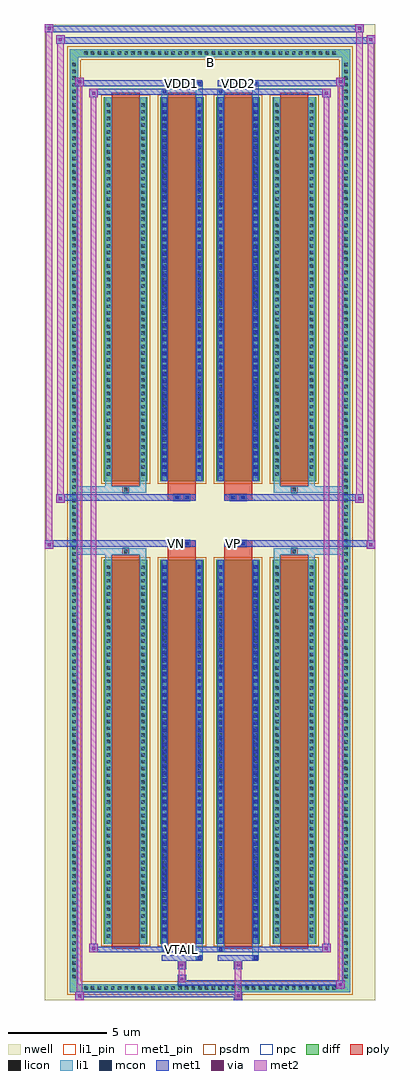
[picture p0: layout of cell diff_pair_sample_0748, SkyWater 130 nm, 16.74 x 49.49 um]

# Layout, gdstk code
import gdstk
lib = gdstk.Library(unit=1e-6, precision=5e-09)
def R(c, l, rs):  # rectangles x0, y0, x1, y1
    for r in rs: c.add(gdstk.rectangle(r[:2], r[2:], *l))
def A(c, l, x, y, w, h, nx, ny, dx, dy):  # array of equal rectangles
    R(c, l, [(x+i*dx, y+j*dy, x+i*dx+w, y+j*dy+h) for i in range(nx) for j in range(ny)])
def P(c, l, *ps):  # polygons
    for p in ps: c.add(gdstk.Polygon(p, *l))
nwell = (64, 20)
diff = (65, 20)
poly = (66, 20)
licon = (66, 44)
li1_pin = (67, 16)
li1 = (67, 20)
mcon = (67, 44)
met1_pin = (68, 16)
met1 = (68, 20)
via = (68, 44)
met2 = (69, 20)
psdm = (94, 20)
npc = (95, 20)

diff_pair_sample_0748 = lib.new_cell('diff_pair_sample_0748')
R(diff_pair_sample_0748, nwell, [(-8.37,-24.31,8.37,25.18), (-5.69,-22.5,-0.01,-0.8), (0.01,-22.5,5.69,-0.8), (-5.69,0.8,-0.01,22.5), (0.01,0.8,5.69,22.5)])
A(diff_pair_sample_0748, diff, -6.495, -23.91, 0.41, 0.41, 38, 2, 0.34, 47.41)
A(diff_pair_sample_0748, diff, -7.1, -23.325, 0.41, 0.41, 1, 137, 0, 0.34)
A(diff_pair_sample_0748, diff, 6.69, -23.325, 0.41, 0.41, 1, 137, 0, 0.34)
A(diff_pair_sample_0748, diff, -5.38, -21.455, 2.21, 19.47, 4, 2, 2.85, 23.44)
R(diff_pair_sample_0748, diff, [(-6.495,-23.91,6.495,-23.5), (-7.1,-23.325,-6.69,23.325), (6.69,-23.325,7.1,23.325), (-6.495,23.5,6.495,23.91)])
P(diff_pair_sample_0748, diff, [(7.1,23.91),(-7.1,23.91),(-7.1,-23.5),(-6.69,-23.5),(-6.69,23.5),(6.69,23.5),(6.69,-23.5),(-6.69,-23.5),(-7.1,-23.5),(-7.1,-23.91),(7.1,-23.91)])
A(diff_pair_sample_0748, poly, -4.99, -21.705, 1.43, 19.97, 4, 2, 2.85, 23.44)
R(diff_pair_sample_0748, poly, [(-4.44,-1.735,-4.11,-1.405), (-4.44,-1.735,-4.11,-1.405), (-2.14,-1.735,-0.71,-1.33), (0.71,-1.735,2.14,-1.33), (4.11,-1.735,4.44,-1.405), (4.11,-1.735,4.44,-1.405), (-2.14,-1.33,-0.71,-1), (-1.84,-1.33,-1.51,-1), (-1.34,-1.33,-1.01,-1), (0.71,-1.33,2.14,-1), (1.01,-1.33,1.34,-1), (1.51,-1.33,1.84,-1), (-2.14,1,-0.71,1.33), (-1.84,1,-1.51,1.33), (-1.34,1,-1.01,1.33), (0.71,1,2.14,1.33), (1.01,1,1.34,1.33), (1.51,1,1.84,1.33), (-2.14,1.33,-0.71,1.735), (0.71,1.33,2.14,1.735), (-4.44,1.405,-4.11,1.735), (-4.44,1.405,-4.11,1.735), (4.11,1.405,4.44,1.735), (4.11,1.405,4.44,1.735)])
A(diff_pair_sample_0748, licon, -6.375, -23.79, 0.17, 0.17, 38, 2, 0.34, 47.41)
A(diff_pair_sample_0748, licon, -6.98, -23.205, 0.17, 0.17, 1, 137, 0, 0.34)
A(diff_pair_sample_0748, licon, 6.81, -23.205, 0.17, 0.17, 1, 137, 0, 0.34)
A(diff_pair_sample_0748, licon, -5.24, -21.155, 0.17, 0.17, 1, 56, 0, 0.34)
A(diff_pair_sample_0748, licon, -3.48, -21.155, 0.17, 0.17, 1, 56, 0, 0.34)
A(diff_pair_sample_0748, licon, -2.39, -21.155, 0.17, 0.17, 1, 56, 0, 0.34)
A(diff_pair_sample_0748, licon, -0.63, -21.155, 0.17, 0.17, 1, 56, 0, 0.34)
A(diff_pair_sample_0748, licon, 0.46, -21.155, 0.17, 0.17, 1, 56, 0, 0.34)
A(diff_pair_sample_0748, licon, 2.22, -21.155, 0.17, 0.17, 1, 56, 0, 0.34)
A(diff_pair_sample_0748, licon, 3.31, -21.155, 0.17, 0.17, 1, 56, 0, 0.34)
A(diff_pair_sample_0748, licon, 5.07, -21.155, 0.17, 0.17, 1, 56, 0, 0.34)
A(diff_pair_sample_0748, licon, -5.24, 2.285, 0.17, 0.17, 1, 56, 0, 0.34)
A(diff_pair_sample_0748, licon, -3.48, 2.285, 0.17, 0.17, 1, 56, 0, 0.34)
A(diff_pair_sample_0748, licon, -2.39, 2.285, 0.17, 0.17, 1, 56, 0, 0.34)
A(diff_pair_sample_0748, licon, -0.63, 2.285, 0.17, 0.17, 1, 56, 0, 0.34)
A(diff_pair_sample_0748, licon, 0.46, 2.285, 0.17, 0.17, 1, 56, 0, 0.34)
A(diff_pair_sample_0748, licon, 2.22, 2.285, 0.17, 0.17, 1, 56, 0, 0.34)
A(diff_pair_sample_0748, licon, 3.31, 2.285, 0.17, 0.17, 1, 56, 0, 0.34)
A(diff_pair_sample_0748, licon, 5.07, 2.285, 0.17, 0.17, 1, 56, 0, 0.34)
R(diff_pair_sample_0748, licon, [(-4.36,-1.655,-4.19,-1.485), (4.19,-1.655,4.36,-1.485), (-1.76,-1.25,-1.59,-1.08), (-1.26,-1.25,-1.09,-1.08), (1.09,-1.25,1.26,-1.08), (1.59,-1.25,1.76,-1.08), (-1.76,1.08,-1.59,1.25), (-1.26,1.08,-1.09,1.25), (1.09,1.08,1.26,1.25), (1.59,1.08,1.76,1.25), (-4.36,1.485,-4.19,1.655), (4.19,1.485,4.36,1.655)])
R(diff_pair_sample_0748, li1_pin, [(-0.25,23,0.25,23.5)])
A(diff_pair_sample_0748, li1, -6.455, -23.87, 0.33, 0.33, 38, 2, 0.34, 47.41)
A(diff_pair_sample_0748, li1, -7.06, -23.285, 0.33, 0.33, 1, 137, 0, 0.34)
A(diff_pair_sample_0748, li1, 6.73, -23.285, 0.33, 0.33, 1, 137, 0, 0.34)
A(diff_pair_sample_0748, li1, -5.32, -21.235, 0.33, 0.33, 1, 56, 0, 0.34)
A(diff_pair_sample_0748, li1, -3.56, -21.235, 0.33, 0.33, 1, 56, 0, 0.34)
A(diff_pair_sample_0748, li1, -2.47, -21.235, 0.33, 0.33, 1, 56, 0, 0.34)
A(diff_pair_sample_0748, li1, -0.71, -21.235, 0.33, 0.33, 1, 56, 0, 0.34)
A(diff_pair_sample_0748, li1, 0.38, -21.235, 0.33, 0.33, 1, 56, 0, 0.34)
A(diff_pair_sample_0748, li1, 2.14, -21.235, 0.33, 0.33, 1, 56, 0, 0.34)
A(diff_pair_sample_0748, li1, 3.23, -21.235, 0.33, 0.33, 1, 56, 0, 0.34)
A(diff_pair_sample_0748, li1, 4.99, -21.235, 0.33, 0.33, 1, 56, 0, 0.34)
A(diff_pair_sample_0748, li1, -2.39, -21.165, 0.17, 0.17, 1, 53, 0, 0.36)
A(diff_pair_sample_0748, li1, -0.63, -21.165, 0.17, 0.17, 1, 53, 0, 0.36)
A(diff_pair_sample_0748, li1, 0.46, -21.165, 0.17, 0.17, 1, 53, 0, 0.36)
A(diff_pair_sample_0748, li1, 2.22, -21.165, 0.17, 0.17, 1, 53, 0, 0.36)
A(diff_pair_sample_0748, li1, -5.32, 2.205, 0.33, 0.33, 1, 56, 0, 0.34)
A(diff_pair_sample_0748, li1, -3.56, 2.205, 0.33, 0.33, 1, 56, 0, 0.34)
A(diff_pair_sample_0748, li1, -2.47, 2.205, 0.33, 0.33, 1, 56, 0, 0.34)
A(diff_pair_sample_0748, li1, -0.71, 2.205, 0.33, 0.33, 1, 56, 0, 0.34)
A(diff_pair_sample_0748, li1, 0.38, 2.205, 0.33, 0.33, 1, 56, 0, 0.34)
A(diff_pair_sample_0748, li1, 2.14, 2.205, 0.33, 0.33, 1, 56, 0, 0.34)
A(diff_pair_sample_0748, li1, 3.23, 2.205, 0.33, 0.33, 1, 56, 0, 0.34)
A(diff_pair_sample_0748, li1, 4.99, 2.205, 0.33, 0.33, 1, 56, 0, 0.34)
A(diff_pair_sample_0748, li1, -2.39, 2.275, 0.17, 0.17, 1, 53, 0, 0.36)
A(diff_pair_sample_0748, li1, -0.63, 2.275, 0.17, 0.17, 1, 53, 0, 0.36)
A(diff_pair_sample_0748, li1, 0.46, 2.275, 0.17, 0.17, 1, 53, 0, 0.36)
A(diff_pair_sample_0748, li1, 2.22, 2.275, 0.17, 0.17, 1, 53, 0, 0.36)
R(diff_pair_sample_0748, li1, [(-7.1,-23.91,-6.69,-23.5), (-7.1,-23.91,-6.69,-23.5), (-6.69,-23.91,6.69,-23.5), (6.69,-23.91,7.1,-23.5), (6.69,-23.91,7.1,-23.5), (-7.1,-23.5,-6.69,23.5), (6.69,-23.5,7.1,23.5), (-0.71,-22.26,-0.38,-21.455), (-0.63,-22.26,-0.46,-22.09), (2.14,-22.26,2.47,-21.455), (2.22,-22.26,2.39,-22.09), (-2.47,-21.83,-2.14,-21.455), (-2.39,-21.83,-2.22,-21.66), (0.38,-21.83,0.71,-21.455), (0.46,-21.83,0.63,-21.66), (-5.32,-21.455,-4.99,-1.985), (-3.56,-21.455,-3.23,-1.985), (-2.47,-21.455,-2.14,-1.985), (-0.71,-21.455,-0.38,-1.985), (0.38,-21.455,0.71,-1.985), (2.14,-21.455,2.47,-1.985), (3.23,-21.455,3.56,-1.985), (4.99,-21.455,5.32,-1.985), (-2.39,-21.165,-2.22,-2.275), (-0.63,-21.165,-0.46,-2.275), (0.46,-21.165,0.63,-2.275), (2.22,-21.165,2.39,-2.275), (-5.32,-1.985,-4.99,-1.405), (-3.56,-1.985,-3.23,-1.405), (3.23,-1.985,3.56,-1.405), (4.99,-1.985,5.32,-1.405), (-7.1,-1.735,-4.44,-1.405), (-5.32,-1.735,-4.44,-1.405), (-4.44,-1.735,-4.11,-1.405), (-4.11,-1.735,-3.23,-1.405), (3.23,-1.735,4.11,-1.405), (4.11,-1.735,4.44,-1.405), (4.11,-1.735,7.1,-1.405), (4.44,-1.735,5.32,-1.405), (-1.84,-1.33,-1.51,-1), (-1.34,-1.33,-1.01,-1), (1.01,-1.33,1.34,-1), (1.51,-1.33,1.84,-1), (-1.84,1,-1.51,1.33), (-1.34,1,-1.01,1.33), (1.01,1,1.34,1.33), (1.51,1,1.84,1.33), (-7.1,1.405,-4.44,1.735), (-5.32,1.405,-4.44,1.735), (-5.32,1.405,-4.99,1.985), (-4.44,1.405,-4.11,1.735), (-4.11,1.405,-3.23,1.735), (-3.56,1.405,-3.23,1.985), (3.23,1.405,4.11,1.735), (3.23,1.405,3.56,1.985), (4.11,1.405,4.44,1.735), (4.11,1.405,7.1,1.735), (4.44,1.405,5.32,1.735), (4.99,1.405,5.32,1.985), (-5.32,1.985,-4.99,21.455), (-3.56,1.985,-3.23,21.455), (-2.47,1.985,-2.14,21.455), (-0.71,1.985,-0.38,21.455), (0.38,1.985,0.71,21.455), (2.14,1.985,2.47,21.455), (3.23,1.985,3.56,21.455), (4.99,1.985,5.32,21.455), (-2.39,2.275,-2.22,21.165), (-0.63,2.275,-0.46,21.165), (0.46,2.275,0.63,21.165), (2.22,2.275,2.39,21.165), (-2.47,21.455,-2.14,21.83), (-0.71,21.455,-0.38,22.26), (0.38,21.455,0.71,21.83), (2.14,21.455,2.47,22.26), (-2.39,21.66,-2.22,21.83), (0.46,21.66,0.63,21.83), (-0.63,22.09,-0.46,22.26), (2.22,22.09,2.39,22.26), (-7.1,23.5,-6.69,23.91), (-7.1,23.5,-6.69,23.91), (-6.69,23.5,6.69,23.91), (6.69,23.5,7.1,23.91), (6.69,23.5,7.1,23.91)])
A(diff_pair_sample_0748, mcon, -2.39, -21.165, 0.17, 0.17, 1, 53, 0, 0.36)
A(diff_pair_sample_0748, mcon, -0.63, -21.165, 0.17, 0.17, 1, 53, 0, 0.36)
A(diff_pair_sample_0748, mcon, 0.46, -21.165, 0.17, 0.17, 1, 53, 0, 0.36)
A(diff_pair_sample_0748, mcon, 2.22, -21.165, 0.17, 0.17, 1, 53, 0, 0.36)
A(diff_pair_sample_0748, mcon, -2.39, 2.275, 0.17, 0.17, 1, 53, 0, 0.36)
A(diff_pair_sample_0748, mcon, -0.63, 2.275, 0.17, 0.17, 1, 53, 0, 0.36)
A(diff_pair_sample_0748, mcon, 0.46, 2.275, 0.17, 0.17, 1, 53, 0, 0.36)
A(diff_pair_sample_0748, mcon, 2.22, 2.275, 0.17, 0.17, 1, 53, 0, 0.36)
R(diff_pair_sample_0748, mcon, [(-0.63,-22.26,-0.46,-22.09), (2.22,-22.26,2.39,-22.09), (-2.39,-21.83,-2.22,-21.66), (0.46,-21.83,0.63,-21.66), (-1.76,-1.25,-1.59,-1.08), (-1.26,-1.25,-1.09,-1.08), (1.09,-1.25,1.26,-1.08), (1.59,-1.25,1.76,-1.08), (-1.76,1.08,-1.59,1.25), (-1.26,1.08,-1.09,1.25), (1.09,1.08,1.26,1.25), (1.59,1.08,1.76,1.25), (-2.39,21.66,-2.22,21.83), (0.46,21.66,0.63,21.83), (-0.63,22.09,-0.46,22.26), (2.22,22.09,2.39,22.26)])
R(diff_pair_sample_0748, met1_pin, [(-1.56,-21.87,-1.29,-21.6), (-1.81,-1.29,-1.54,-1.02), (1.04,-1.29,1.31,-1.02), (-1.56,22.05,-1.29,22.32), (1.29,22.05,1.56,22.32)])
A(diff_pair_sample_0748, met1, -2.45, -21.225, 0.29, 0.29, 1, 53, 0, 0.36)
A(diff_pair_sample_0748, met1, -0.69, -21.225, 0.29, 0.29, 1, 53, 0, 0.36)
A(diff_pair_sample_0748, met1, 0.4, -21.225, 0.29, 0.29, 1, 53, 0, 0.36)
A(diff_pair_sample_0748, met1, 2.16, -21.225, 0.29, 0.29, 1, 53, 0, 0.36)
A(diff_pair_sample_0748, met1, -2.45, 2.215, 0.29, 0.29, 1, 53, 0, 0.36)
A(diff_pair_sample_0748, met1, -0.69, 2.215, 0.29, 0.29, 1, 53, 0, 0.36)
A(diff_pair_sample_0748, met1, 0.4, 2.215, 0.29, 0.29, 1, 53, 0, 0.36)
A(diff_pair_sample_0748, met1, 2.16, 2.215, 0.29, 0.29, 1, 53, 0, 0.36)
R(diff_pair_sample_0748, met1, [(-6.83,-24.31,-6.4,-23.88), (1.21,-24.31,1.64,-23.88), (-6.83,-24.17,1.64,-23.88), (6.4,-23.74,6.83,-23.31), (-1.64,-23.6,6.83,-23.31), (-1.64,-23.46,-1.21,-23.03), (-1.64,-22.75,-1.21,-22.32), (1.21,-22.75,1.64,-22.32), (-2.45,-22.32,-0.4,-22.03), (-0.69,-22.32,-0.4,-22.03), (0.4,-22.32,2.45,-22.03), (2.16,-22.32,2.45,-22.03), (-6.12,-21.89,-5.69,-21.46), (-6.12,-21.89,-2.45,-21.6), (-2.45,-21.89,-2.16,-21.6), (-2.45,-21.89,-0.4,-21.6), (-0.4,-21.89,0.4,-21.6), (0.4,-21.89,0.69,-21.6), (0.4,-21.89,2.45,-21.6), (2.45,-21.89,6.12,-21.6), (5.69,-21.89,6.12,-21.46), (-2.45,-21.455,-2.16,-1.985), (-0.69,-21.455,-0.4,-1.985), (0.4,-21.455,0.69,-1.985), (2.16,-21.455,2.45,-1.985), (-8.37,-1.43,-7.94,-1), (7.94,-1.43,8.37,-1), (-8.37,-1.33,-0.71,-1), (-2.14,-1.33,-0.71,-1), (0.71,-1.33,2.14,-1), (0.71,-1.33,8.37,-1), (-1.82,-1.31,-1.53,-1.02), (-1.32,-1.31,-1.03,-1.02), (1.03,-1.31,1.32,-1.02), (1.53,-1.31,1.82,-1.02), (-7.8,0.9,-7.37,1.33), (7.37,0.9,7.8,1.33), (-7.8,1,-2.14,1.33), (-2.14,1,-0.71,1.33), (0.71,1,2.14,1.33), (2.14,1,7.8,1.33), (-1.82,1.02,-1.53,1.31), (-1.32,1.02,-1.03,1.31), (1.03,1.02,1.32,1.31), (1.53,1.02,1.82,1.31), (-2.45,1.985,-2.16,21.455), (-0.69,1.985,-0.4,21.455), (0.4,1.985,0.69,21.455), (2.16,1.985,2.45,21.455), (-6.12,21.46,-5.69,21.89), (5.69,21.46,6.12,21.89), (-6.12,21.6,-2.45,21.89), (-2.45,21.6,-2.16,21.89), (-2.45,21.6,-0.4,21.89), (-0.4,21.6,0.4,21.89), (0.4,21.6,0.69,21.89), (0.4,21.6,2.45,21.89), (2.45,21.6,6.12,21.89), (-6.83,22.03,-6.4,22.46), (-6.83,22.03,-2.45,22.32), (-2.45,22.03,-0.4,22.32), (-0.69,22.03,-0.4,22.32), (0.4,22.03,2.45,22.32), (2.16,22.03,2.45,22.32), (2.45,22.03,6.83,22.32), (6.4,22.03,6.83,22.46), (-7.8,24.18,-7.37,24.61), (-7.8,24.18,-5.69,24.51), (-5.69,24.18,5.69,24.51), (5.69,24.18,8.37,24.51), (7.94,24.18,8.37,24.61), (-8.37,24.75,-7.94,25.18), (-8.37,24.75,-5.69,25.08), (-5.69,24.75,5.69,25.08), (5.69,24.75,7.8,25.08), (7.37,24.75,7.8,25.18)])
R(diff_pair_sample_0748, via, [(-6.69,-24.17,-6.54,-24.02), (1.35,-24.17,1.5,-24.02), (6.54,-23.6,6.69,-23.45), (-1.5,-23.32,-1.35,-23.17), (-1.5,-22.61,-1.35,-22.46), (1.35,-22.61,1.5,-22.46), (-5.98,-21.75,-5.83,-21.6), (5.83,-21.75,5.98,-21.6), (-8.23,-1.29,-8.08,-1.14), (8.08,-1.29,8.23,-1.14), (-7.66,1.04,-7.51,1.19), (7.51,1.04,7.66,1.19), (-5.98,21.6,-5.83,21.75), (5.83,21.6,5.98,21.75), (-6.69,22.17,-6.54,22.32), (6.54,22.17,6.69,22.32), (-7.66,24.32,-7.51,24.47), (8.08,24.32,8.23,24.47), (-8.23,24.89,-8.08,25.04), (7.51,24.89,7.66,25.04)])
R(diff_pair_sample_0748, met2, [(-6.83,-24.31,-6.4,-23.88), (-6.76,-24.31,-6.47,22.46), (-6.47,-24.31,-6.4,-23.88), (-6.78,-24.26,-6.45,-23.93), (1.26,-24.26,1.59,-23.93), (1.26,-23.93,1.59,-22.7), (6.4,-23.74,6.83,-23.31), (6.47,-23.74,6.76,22.46), (6.76,-23.74,6.83,-23.31), (6.45,-23.69,6.78,-23.36), (-1.59,-23.41,-1.26,-23.08), (-1.59,-23.08,-1.26,-22.7), (-1.59,-22.7,-1.26,-22.37), (1.26,-22.7,1.59,-22.37), (-6.12,-21.89,-5.69,-21.46), (-6.05,-21.89,-5.76,21.89), (-5.76,-21.89,-5.69,-21.46), (5.69,-21.89,6.12,-21.46), (5.76,-21.89,6.05,21.89), (6.05,-21.89,6.12,-21.46), (-6.07,-21.84,-5.74,-21.51), (5.74,-21.84,6.07,-21.51), (-8.37,-1.43,-7.94,-1), (-8.32,-1.43,-7.99,25.18), (-7.99,-1.43,-7.94,-1), (7.94,-1.43,8.37,-1), (7.99,-1.43,8.32,24.61), (8.32,-1.43,8.37,-1), (-8.32,-1.38,-7.99,-1.05), (7.99,-1.38,8.32,-1.05), (-7.8,0.9,-7.37,1.33), (-7.75,0.9,-7.42,24.61), (-7.42,0.9,-7.37,1.33), (7.37,0.9,7.8,1.33), (7.42,0.9,7.75,25.18), (7.75,0.9,7.8,1.33), (-7.75,0.95,-7.42,1.28), (7.42,0.95,7.75,1.28), (-6.12,21.46,-5.69,21.89), (-5.76,21.46,-5.69,21.89), (5.69,21.46,6.12,21.89), (6.05,21.46,6.12,21.89), (-6.07,21.51,-5.74,21.84), (5.74,21.51,6.07,21.84), (-6.83,22.03,-6.4,22.46), (-6.47,22.03,-6.4,22.46), (6.4,22.03,6.83,22.46), (6.76,22.03,6.83,22.46), (-6.78,22.08,-6.45,22.41), (6.45,22.08,6.78,22.41), (-7.8,24.18,-7.37,24.61), (-7.42,24.18,-7.37,24.61), (7.94,24.18,8.37,24.61), (8.32,24.18,8.37,24.61), (-7.75,24.23,-7.42,24.56), (7.99,24.23,8.32,24.56), (-8.37,24.75,-7.94,25.18), (-7.99,24.75,-7.94,25.18), (7.37,24.75,7.8,25.18), (7.75,24.75,7.8,25.18), (-8.32,24.8,-7.99,25.13), (7.42,24.8,7.75,25.13)])
A(diff_pair_sample_0748, psdm, -5.51, -21.585, 2.47, 19.73, 4, 2, 2.85, 23.44)
P(diff_pair_sample_0748, psdm, [(7.23,24.04),(-7.23,24.04),(-7.23,-23.37),(-6.56,-23.37),(-6.56,23.37),(6.56,23.37),(6.56,-23.37),(-6.56,-23.37),(-7.23,-23.37),(-7.23,-24.04),(7.23,-24.04)])
R(diff_pair_sample_0748, npc, [(-4.46,-1.755,-4.09,-1.385), (4.09,-1.755,4.46,-1.385), (-1.86,-1.35,-1.49,-0.98), (-1.86,-1.35,-0.99,-0.98), (-1.86,-1.35,-0.99,-0.98), (-1.36,-1.35,-0.99,-0.98), (0.99,-1.35,1.36,-0.98), (0.99,-1.35,1.86,-0.98), (0.99,-1.35,1.86,-0.98), (1.49,-1.35,1.86,-0.98), (-1.86,0.98,-1.49,1.35), (-1.86,0.98,-0.99,1.35), (-1.86,0.98,-0.99,1.35), (-1.36,0.98,-0.99,1.35), (0.99,0.98,1.36,1.35), (0.99,0.98,1.86,1.35), (0.99,0.98,1.86,1.35), (1.49,0.98,1.86,1.35), (-4.46,1.385,-4.09,1.755), (4.09,1.385,4.46,1.755)])
diff_pair_sample_0748.add(gdstk.Label('VTAIL', (-1.425,-21.735), layer=68, texttype=5))
diff_pair_sample_0748.add(gdstk.Label('VN', (-1.675,-1.155), layer=68, texttype=5))
diff_pair_sample_0748.add(gdstk.Label('VP', (1.175,-1.155), layer=68, texttype=5))
diff_pair_sample_0748.add(gdstk.Label('B', (0,23.25), layer=67, texttype=5))
diff_pair_sample_0748.add(gdstk.Label('VDD2', (1.425,22.185), layer=68, texttype=5))
diff_pair_sample_0748.add(gdstk.Label('VDD1', (-1.425,22.185), layer=68, texttype=5))

lib.write_gds('diff_pair_sample_0748.gds')
